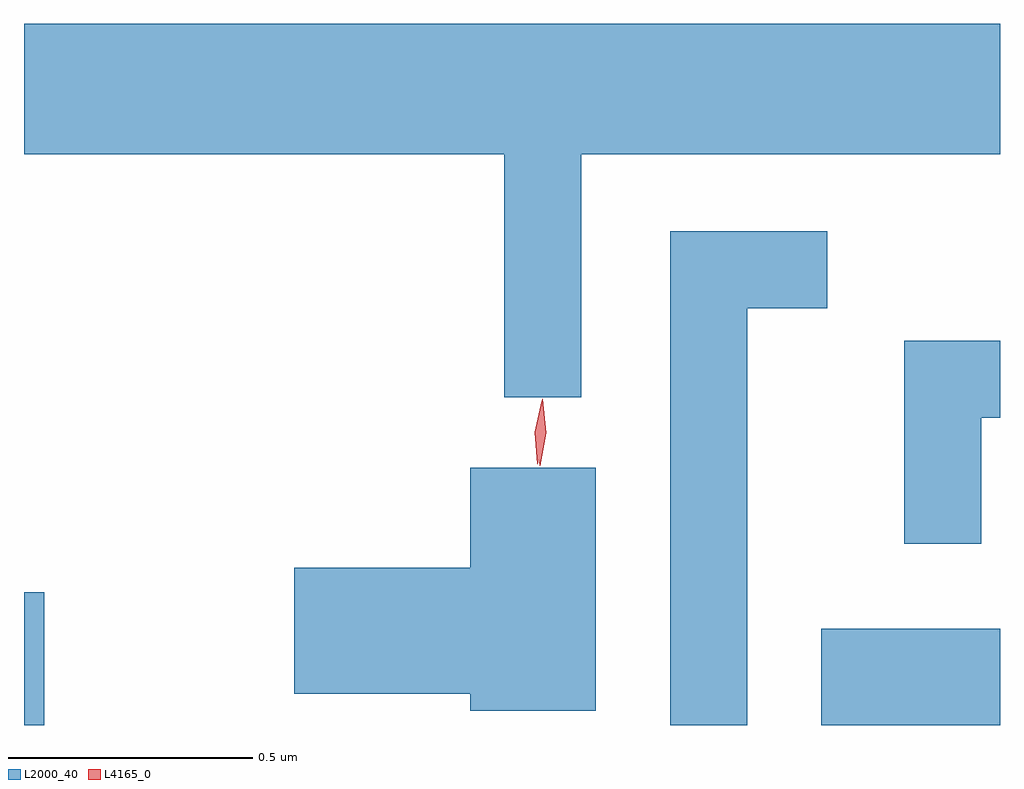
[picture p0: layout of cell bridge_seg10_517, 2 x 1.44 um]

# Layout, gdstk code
import gdstk
lib = gdstk.Library(unit=1e-6, precision=1e-09)
def R(c, l, rs):  # rectangles x0, y0, x1, y1
    for r in rs: c.add(gdstk.rectangle(r[:2], r[2:], *l))
def P(c, l, *ps):  # polygons
    for p in ps: c.add(gdstk.Polygon(p, *l))
L2000_40 = (2000, 40)
L4165_0 = (4165, 0)

bridge_seg10_517 = lib.new_cell('bridge_seg10_517')
R(bridge_seg10_517, L2000_40, [(929.582,2161.586,929.624,2161.859), (931.216,2161.586,931.582,2161.784)])
P(bridge_seg10_517, L2000_40, [(930.724,2162.756),(931.582,2162.756),(931.582,2163.024),(929.582,2163.024),(929.582,2162.756),(930.566,2162.756),(930.566,2162.258),(930.724,2162.258)],
  [(931.064,2162.441),(931.228,2162.441),(931.228,2162.599),(930.906,2162.599),(930.906,2161.586),(931.064,2161.586)],
  [(931.544,2162.216),(931.582,2162.216),(931.582,2162.374),(931.386,2162.374),(931.386,2161.958),(931.544,2161.958)],
  [(930.754,2162.114),(930.496,2162.114),(930.496,2161.909),(930.136,2161.909),(930.136,2161.651),(930.496,2161.651),(930.496,2161.616),(930.754,2161.616)])
P(bridge_seg10_517, L4165_0, [(930.639,2162.118),(930.639,2162.118),(930.632,2162.187),(930.644,2162.254),(930.645,2162.255),(930.645,2162.254),(930.652,2162.186),(930.64,2162.118)],
  [(930.634,2162.121),(930.634,2162.122),(930.629,2162.187),(930.643,2162.251),(930.644,2162.252),(930.644,2162.251),(930.649,2162.186),(930.635,2162.122)])

lib.write_gds('bridge_seg10_517.gds')
